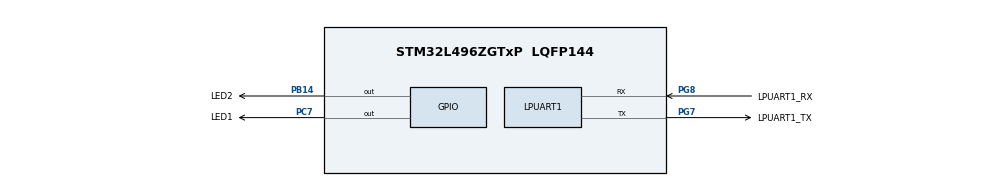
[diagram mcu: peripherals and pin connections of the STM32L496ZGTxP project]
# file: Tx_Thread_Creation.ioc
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LPUART1.VirtualMode-Asynchronous=VM_ASYNC
Mcu.Family=STM32L4
Mcu.Name=STM32L496ZGTxP
Mcu.Package=LQFP144
NVIC.PriorityGroup=NVIC_PRIORITYGROUP_4
NVIC.TIM6_IRQn=true\:0\:0\:false\:false\:true\:true\:true\:true
NVIC.TimeBase=TIM6_IRQn
NVIC.TimeBaseIP=TIM6
PA13\ (JTMS/SWDIO).Mode=Serial_Wire
PA13\ (JTMS/SWDIO).Signal=SYS_JTMS-SWDIO
PA14\ (JTCK/SWCLK).Mode=Serial_Wire
PA14\ (JTCK/SWCLK).Signal=SYS_JTCK-SWCLK
PB14.GPIO_Label=LED2
PB14.Signal=GPIO_Output
PC7.GPIO_Label=LED1
PC7.Signal=GPIO_Output
PG7.GPIO_Label=LPUART1_TX
PG7.GPIO_PuPd=GPIO_PULLUP
PG7.GPIO_Speed=GPIO_SPEED_FREQ_VERY_HIGH
PG7.Mode=Asynchronous
PG7.Signal=LPUART1_TX
PG8.GPIO_Label=LPUART1_RX
PG8.GPIO_PuPd=GPIO_PULLUP
PG8.GPIO_Speed=GPIO_SPEED_FREQ_VERY_HIGH
PG8.Mode=Asynchronous
PG8.Signal=LPUART1_RX
ProjectManager.HeapSize=0x200
ProjectManager.StackSize=0x400
ProjectManager.TargetToolchain=STM32CubeIDE
RCC.APB1Freq_Value=80000000
RCC.APB1TimFreq_Value=80000000
RCC.APB2Freq_Value=80000000
RCC.APB2TimFreq_Value=80000000
RCC.CortexFreq_Value=80000000
RCC.HCLKFreq_Value=80000000
RCC.HSI_VALUE=16000000
RCC.MSIClockRange=RCC_MSIRANGE_6
RCC.MSI_VALUE=4000000
RCC.PLLM=1
RCC.PLLN=40
RCC.PLLP=RCC_PLLP_DIV2
RCC.PLLQ=RCC_PLLQ_DIV2
RCC.PLLR=RCC_PLLR_DIV2
RCC.PLLSourceVirtual=RCC_PLLSOURCE_MSI
RCC.SYSCLKFreq_VALUE=80000000
RCC.SYSCLKSource=RCC_SYSCLKSOURCE_PLLCLK
RCC.VCOOutputFreq_Value=160000000
VP_SYS_VS_tim6.Mode=TIM6
VP_THREADX_VS_RTOSJjThreadXJjCoreJjDefault.Mode=Core_Default
board=NUCLEO-L496ZG-P

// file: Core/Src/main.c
/* USER CODE BEGIN Header */
/**
 ******************************************************************************
 * @file
 * ThreadX/Tx_Thread_Creation/Src/main.c
 * @author  MCD Application Team
 * @brief   Main program
 * body
 ******************************************************************************
 *
 * @attention
 *
 * Copyright (c) 2021 STMicroelectronics.
 * All rights reserved.
 *
 * This
 * software is licensed under terms that can be found in the LICENSE file
 * in the root directory
 * of this software component.
 * If no LICENSE file comes with this software, it is provided
 * AS-IS.
 *
 ******************************************************************************
 */
/* USER CODE END Header */
#include "main.h"
#include "app_threadx.h"

/* USER CODE BEGIN Includes */
#include "tx_api.h"
#include <stdio.h>
/* USER CODE END Includes */

/* USER CODE BEGIN PM */

#if defined(__GNUC__) && !defined(__clang__)
/* With GCC, small printf (option LD Linker->Libraries->Small printf
   set to 'Yes') calls
 * __io_putchar() */
#define PUTCHAR_PROTOTYPE int __io_putchar(int ch)
/* syscalls.c's _write() calls this with external linkage (see the
 * `extern int __io_putchar(int ch) __attribute__((weak));` there) --
 * declare it here too so the definition below has a visible declaration
 * in its own file. */
extern int __io_putchar(int ch);
#else
#define PUTCHAR_PROTOTYPE int fputc(int ch, FILE* f)
#endif

/* USER CODE END PM */

static UART_HandleTypeDef hlpuart1;

static void SystemClock_Config(void);
static void MX_GPIO_Init(void);
static void MX_LPUART1_UART_Init(void);

int main(void)
{

    /* MCU Configuration--------------------------------------------------------*/

    /* Reset of all peripherals, Initializes the Flash interface and the Systick. */
    (void)HAL_Init();

    /* Configure the system clock */
    SystemClock_Config();

    /* Initialize all configured peripherals */
    MX_GPIO_Init();
    MX_LPUART1_UART_Init();

    MX_ThreadX_Init();

    /* We should never get here as control is now taken by the scheduler */
    /* Infinite loop */
    while (1)
    {

    }
}

static void SystemClock_Config(void)
{
    RCC_OscInitTypeDef RCC_OscInitStruct = {0};
    RCC_ClkInitTypeDef RCC_ClkInitStruct = {0};

    /** Configure the main internal regulator output voltage
     */
    if (HAL_PWREx_ControlVoltageScaling(PWR_REGULATOR_VOLTAGE_SCALE1) != HAL_OK)
    {
        Error_Handler();
    }

    /** Initializes the RCC Oscillators according to the specified parameters
     * in the
     * RCC_OscInitTypeDef structure.
     */
    RCC_OscInitStruct.OscillatorType = RCC_OSCILLATORTYPE_MSI;
    RCC_OscInitStruct.MSIState = RCC_MSI_ON;
    RCC_OscInitStruct.MSICalibrationValue = 0;
    RCC_OscInitStruct.MSIClockRange = RCC_MSIRANGE_6;
    RCC_OscInitStruct.PLL.PLLState = RCC_PLL_ON;
    RCC_OscInitStruct.PLL.PLLSource = RCC_PLLSOURCE_MSI;
    RCC_OscInitStruct.PLL.PLLM = 1;
    RCC_OscInitStruct.PLL.PLLN = 40;
    RCC_OscInitStruct.PLL.PLLP = RCC_PLLP_DIV2;
    RCC_OscInitStruct.PLL.PLLQ = RCC_PLLQ_DIV2;
    RCC_OscInitStruct.PLL.PLLR = RCC_PLLR_DIV2;
    if (HAL_RCC_OscConfig(&RCC_OscInitStruct) != HAL_OK)
    {
        Error_Handler();
    }

    /** Initializes the CPU, AHB and APB buses clocks
     */
    RCC_ClkInitStruct.ClockType =
        RCC_CLOCKTYPE_HCLK | RCC_CLOCKTYPE_SYSCLK | RCC_CLOCKTYPE_PCLK1 | RCC_CLOCKTYPE_PCLK2;
    RCC_ClkInitStruct.SYSCLKSource = RCC_SYSCLKSOURCE_PLLCLK;
    RCC_ClkInitStruct.AHBCLKDivider = RCC_SYSCLK_DIV1;
    RCC_ClkInitStruct.APB1CLKDivider = RCC_HCLK_DIV1;
    RCC_ClkInitStruct.APB2CLKDivider = RCC_HCLK_DIV1;

    if (HAL_RCC_ClockConfig(&RCC_ClkInitStruct, FLASH_LATENCY_4) != HAL_OK)
    {
        Error_Handler();
    }

    /** Enable MSI Auto calibration
     */
    HAL_RCCEx_EnableMSIPLLMode();
}

static void MX_LPUART1_UART_Init(void)
{

    hlpuart1.Instance = LPUART1;
    hlpuart1.Init.BaudRate = 115200;
    hlpuart1.Init.WordLength = UART_WORDLENGTH_8B;
    hlpuart1.Init.StopBits = UART_STOPBITS_1;
    hlpuart1.Init.Parity = UART_PARITY_NONE;
    hlpuart1.Init.Mode = UART_MODE_TX_RX;
    hlpuart1.Init.HwFlowCtl = UART_HWCONTROL_NONE;
    hlpuart1.Init.OneBitSampling = UART_ONE_BIT_SAMPLE_DISABLE;
    hlpuart1.AdvancedInit.AdvFeatureInit = UART_ADVFEATURE_NO_INIT;
    if (HAL_UART_Init(&hlpuart1) != HAL_OK)
    {
        Error_Handler();
    }
}

static void MX_GPIO_Init(void)
{
    GPIO_InitTypeDef GPIO_InitStruct = {0};

    /* GPIO Ports Clock Enable */
    __HAL_RCC_GPIOB_CLK_ENABLE();
    __HAL_RCC_GPIOG_CLK_ENABLE();
    HAL_PWREx_EnableVddIO2();
    __HAL_RCC_GPIOC_CLK_ENABLE();

    /*Configure GPIO pin Output Level */
    HAL_GPIO_WritePin(LED2_GPIO_Port, LED2_Pin, GPIO_PIN_RESET);

    /*Configure GPIO pin Output Level */
    HAL_GPIO_WritePin(LED1_GPIO_Port, LED1_Pin, GPIO_PIN_RESET);

    /*Configure GPIO pin : LED2_Pin */
    GPIO_InitStruct.Pin = LED2_Pin;
    GPIO_InitStruct.Mode = GPIO_MODE_OUTPUT_PP;
    GPIO_InitStruct.Pull = GPIO_NOPULL;
    GPIO_InitStruct.Speed = GPIO_SPEED_FREQ_LOW;
    HAL_GPIO_Init(LED2_GPIO_Port, &GPIO_InitStruct);

    /*Configure GPIO pin : LED1_Pin */
    GPIO_InitStruct.Pin = LED1_Pin;
    GPIO_InitStruct.Mode = GPIO_MODE_OUTPUT_PP;
    GPIO_InitStruct.Pull = GPIO_NOPULL;
    GPIO_InitStruct.Speed = GPIO_SPEED_FREQ_LOW;
    HAL_GPIO_Init(LED1_GPIO_Port, &GPIO_InitStruct);

}

/* USER CODE BEGIN 4 */

/**
 * @brief  Retargets the C library printf function to the USART.
 * @param  None
 * @retval
 * None
 */
PUTCHAR_PROTOTYPE
{
    /* Place your implementation of fputc here */
    /* e.g. write a character to the LPUART1 and Loop until the end of transmission */
    (void)HAL_UART_Transmit(&hlpuart1, (uint8_t*)&ch, 1, 0xFFFF);

    return ch;
}

/* USER CODE END 4 */

void HAL_TIM_PeriodElapsedCallback(TIM_HandleTypeDef* htim)
{
    if (htim->Instance == TIM6)
    {
        HAL_IncTick();
    }
}

void Error_Handler(void)
{
    /* USER CODE BEGIN Error_Handler_Debug */
    HAL_GPIO_WritePin(LED1_GPIO_Port, LED1_Pin, GPIO_PIN_RESET);
    while (1)
    {
        HAL_GPIO_TogglePin(LED2_GPIO_Port, LED2_Pin);
        (void)printf("** Error occurred ** \n\r");
        HAL_Delay(1000);
    }
    /* USER CODE END Error_Handler_Debug */
}

#ifdef USE_FULL_ASSERT
/**
 * @brief  Reports the name of the source file and the source line number
 *         where the
 * assert_param error has occurred.
 * @param  file: pointer to the source file name
 * @param
 * line: assert_param error line source number
 * @retval None
 */
void assert_failed(uint8_t* file, uint32_t line)
{
    /* USER CODE BEGIN 6 */
    /* User can add his own implementation to report the file name and line number,
     ex:
     * printf("Wrong parameters value: file %s on line %d\r\n", file, line) */
    /* Infinite loop */
    while (1)
    {
    }
    /* USER CODE END 6 */
}
#endif /* USE_FULL_ASSERT */
